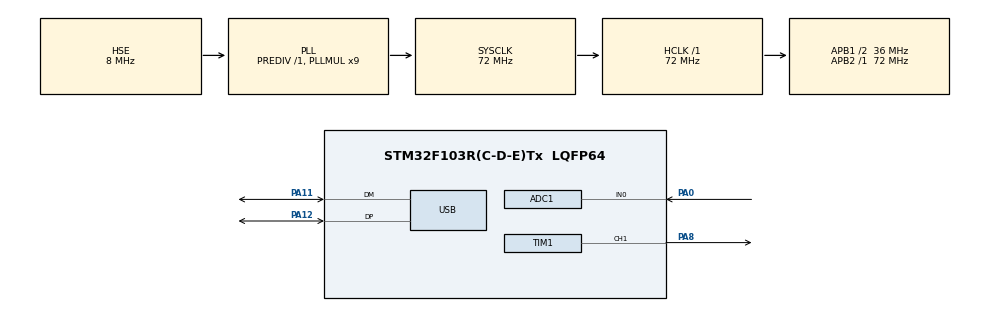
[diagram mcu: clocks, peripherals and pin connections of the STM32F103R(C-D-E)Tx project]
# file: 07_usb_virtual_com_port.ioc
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ADC1.Channel-0\#ChannelRegularConversion=ADC_CHANNEL_0
ADC1.ExternalTrigConv=ADC_EXTERNALTRIGCONV_T3_TRGO
ADC1.NbrOfConversion=1
ADC1.NbrOfConversionFlag=1
ADC1.Rank-0\#ChannelRegularConversion=1
ADC1.SamplingTime-0\#ChannelRegularConversion=ADC_SAMPLETIME_1CYCLE_5
ADC1.master=1
Dma.ADC1.0.Direction=DMA_PERIPH_TO_MEMORY
Dma.ADC1.0.Instance=DMA1_Channel1
Dma.ADC1.0.MemDataAlignment=DMA_MDATAALIGN_HALFWORD
Dma.ADC1.0.MemInc=DMA_MINC_ENABLE
Dma.ADC1.0.Mode=DMA_CIRCULAR
Dma.ADC1.0.PeriphDataAlignment=DMA_PDATAALIGN_HALFWORD
Dma.ADC1.0.PeriphInc=DMA_PINC_DISABLE
Dma.ADC1.0.Priority=DMA_PRIORITY_HIGH
Dma.Request0=ADC1
Mcu.Family=STM32F1
Mcu.Name=STM32F103R(C-D-E)Tx
Mcu.Package=LQFP64
NVIC.DMA1_Channel1_IRQn=true\:0\:0\:false\:false\:true\:false\:true
NVIC.PriorityGroup=NVIC_PRIORITYGROUP_4
NVIC.USB_LP_CAN1_RX0_IRQn=true\:0\:0\:false\:false\:true\:false\:true
PA0-WKUP.Signal=ADCx_IN0
PA11.Mode=Device
PA11.Signal=USB_DM
PA12.Mode=Device
PA12.Signal=USB_DP
PA13.Mode=Serial_Wire
PA13.Signal=SYS_JTMS-SWDIO
PA14.Mode=Serial_Wire
PA14.Signal=SYS_JTCK-SWCLK
PA8.Signal=S_TIM1_CH1
PD0-OSC_IN.Mode=HSE-External-Oscillator
PD0-OSC_IN.Signal=RCC_OSC_IN
PD1-OSC_OUT.Mode=HSE-External-Oscillator
PD1-OSC_OUT.Signal=RCC_OSC_OUT
ProjectManager.HeapSize=0x200
ProjectManager.StackSize=0x400
ProjectManager.TargetToolchain=MDK-ARM V5.27
RCC.ADCPresc=RCC_ADCPCLK2_DIV6
RCC.AHBFreq_Value=72000000
RCC.APB1CLKDivider=RCC_HCLK_DIV2
RCC.APB1Freq_Value=36000000
RCC.APB1TimFreq_Value=72000000
RCC.APB2Freq_Value=72000000
RCC.APB2TimFreq_Value=72000000
RCC.HCLKFreq_Value=72000000
RCC.PLLMUL=RCC_PLL_MUL9
RCC.PLLSourceVirtual=RCC_PLLSOURCE_HSE
RCC.SYSCLKFreq_VALUE=72000000
RCC.SYSCLKSource=RCC_SYSCLKSOURCE_PLLCLK
RCC.USBFreq_Value=48000000
RCC.USBPrescaler=RCC_USBCLKSOURCE_PLL_DIV1_5
SH.ADCx_IN0.0=ADC1_IN0,IN0
SH.S_TIM1_CH1.0=TIM1_CH1,PWM Generation1 CH1
TIM1.AutomaticOutput=TIM_AUTOMATICOUTPUT_ENABLE
TIM1.Channel-PWM\ Generation1\ CH1=TIM_CHANNEL_1
TIM1.Period=5000
TIM1.Prescaler=72
TIM1.Pulse-PWM\ Generation1\ CH1=2500
TIM3.Period=1000
TIM3.Prescaler=72
TIM3.TIM_MasterOutputTrigger=TIM_TRGO_UPDATE
USB_DEVICE.APP_RX_DATA_SIZE=50
USB_DEVICE.APP_TX_DATA_SIZE=50
USB_DEVICE.CLASS_NAME_FS=CDC
USB_DEVICE.VirtualMode=Cdc
USB_DEVICE.VirtualModeFS=Cdc_FS
VP_TIM3_VS_ClockSourceINT.Mode=Internal
VP_USB_DEVICE_VS_USB_DEVICE_CDC_FS.Mode=CDC_FS
board=custom

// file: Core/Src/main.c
/* USER CODE BEGIN Header */
/**
  ******************************************************************************
  * @file           : main.c
  * @brief          : Main program body
  ******************************************************************************
  * @attention
  *
  * <h2><center>&copy; Copyright (c) 2020 STMicroelectronics.
  * All rights reserved.</center></h2>
  *
  * This software component is licensed by ST under Ultimate Liberty license
  * SLA0044, the "License"; You may not use this file except in compliance with
  * the License. You may obtain a copy of the License at:
  *                             www.st.com/SLA0044
  *
  ******************************************************************************
  */
/* USER CODE END Header */
#include "main.h"
#include "usb_device.h"

/* USER CODE BEGIN Includes */
uint8_t CDC_Transmit_FS(uint8_t* Buf, uint16_t Len);
/* USER CODE END Includes */

/* USER CODE BEGIN PTD */
#define ADC_CALC 3.3/4096
/* USER CODE END PTD */

ADC_HandleTypeDef hadc1;
DMA_HandleTypeDef hdma_adc1;

TIM_HandleTypeDef htim1;
TIM_HandleTypeDef htim3;

/* USER CODE BEGIN PV */
uint32_t ADCValue;
char string[]="0 ticks \r\n";
/* USER CODE END PV */

void SystemClock_Config(void);
static void MX_GPIO_Init(void);
static void MX_DMA_Init(void);
static void MX_ADC1_Init(void);
static void MX_TIM3_Init(void);
static void MX_TIM1_Init(void);

/* USER CODE BEGIN 0 */

#define prescaler 71
#define frequency 500
#define osc 72e6
#define APP_RX_DATA_SIZE 50

uint32_t encoderValue=0;
extern uint8_t UserRxBufferFS[APP_RX_DATA_SIZE];

/* USER CODE END 0 */

int main(void)
{

  /* MCU Configuration--------------------------------------------------------*/

  /* Reset of all peripherals, Initializes the Flash interface and the Systick. */
  HAL_Init();

  /* Configure the system clock */
  SystemClock_Config();

  /* Initialize all configured peripherals */
  MX_GPIO_Init();
  MX_DMA_Init();
  MX_ADC1_Init();
  MX_TIM3_Init();
  MX_USB_DEVICE_Init();
  MX_TIM1_Init();
  /* USER CODE BEGIN 2 */
	HAL_ADC_Start_DMA(&hadc1,&ADCValue,1);
	HAL_TIM_Base_Start(&htim3);
	HAL_TIM_PWM_Start(&htim1, TIM_CHANNEL_1);

	/* TIMER4 ENCODER */
	RCC->APB2ENR |= 1<<3;				// GPIOB clock enable
	GPIOB->CRL = 0x44ffffff;		// pb6,pb7 input float

	RCC->APB1ENR |= 1<<2;				// tim4 clock enable
	TIM4->PSC = 0;
	TIM4->ARR = 2000;
	TIM4->CCMR1 |= 1<<8 | 1; 		// cc2 channel TI2 ( TIM4_CH2) & cc1 channel TI1 (TIM4_CH1)
	TIM4->SMCR |= 3;						// TIM SMCR ENCODER MODE TI1, TI2
	TIM4->CR1 |= 1;

  /* USER CODE END 2 */

  /* Infinite loop */
  while (1)
  {

    /* USER CODE BEGIN 3 */
		//encoderValue = TIM4->CNT;

		//sprintf(string,"%.2f",(ADCValue*ADC_CALC) );
		sprintf(string,"%.2d", TIM4->CNT);
		CDC_Transmit_FS( (uint8_t *)string, sizeof(string) );
		//HAL_Delay(1000);
		TIM1->CCR1 = UserRxBufferFS[1]<<8 | UserRxBufferFS[0];

  }
  /* USER CODE END 3 */
}

void SystemClock_Config(void)
{
  RCC_OscInitTypeDef RCC_OscInitStruct = {0};
  RCC_ClkInitTypeDef RCC_ClkInitStruct = {0};
  RCC_PeriphCLKInitTypeDef PeriphClkInit = {0};

  /** Initializes the RCC Oscillators according to the specified parameters
  * in the RCC_OscInitTypeDef structure.
  */
  RCC_OscInitStruct.OscillatorType = RCC_OSCILLATORTYPE_HSE;
  RCC_OscInitStruct.HSEState = RCC_HSE_ON;
  RCC_OscInitStruct.HSEPredivValue = RCC_HSE_PREDIV_DIV1;
  RCC_OscInitStruct.HSIState = RCC_HSI_ON;
  RCC_OscInitStruct.PLL.PLLState = RCC_PLL_ON;
  RCC_OscInitStruct.PLL.PLLSource = RCC_PLLSOURCE_HSE;
  RCC_OscInitStruct.PLL.PLLMUL = RCC_PLL_MUL9;
  if (HAL_RCC_OscConfig(&RCC_OscInitStruct) != HAL_OK)
  {
    Error_Handler();
  }
  /** Initializes the CPU, AHB and APB buses clocks
  */
  RCC_ClkInitStruct.ClockType = RCC_CLOCKTYPE_HCLK|RCC_CLOCKTYPE_SYSCLK
                              |RCC_CLOCKTYPE_PCLK1|RCC_CLOCKTYPE_PCLK2;
  RCC_ClkInitStruct.SYSCLKSource = RCC_SYSCLKSOURCE_PLLCLK;
  RCC_ClkInitStruct.AHBCLKDivider = RCC_SYSCLK_DIV1;
  RCC_ClkInitStruct.APB1CLKDivider = RCC_HCLK_DIV2;
  RCC_ClkInitStruct.APB2CLKDivider = RCC_HCLK_DIV1;

  if (HAL_RCC_ClockConfig(&RCC_ClkInitStruct, FLASH_LATENCY_2) != HAL_OK)
  {
    Error_Handler();
  }
  PeriphClkInit.PeriphClockSelection = RCC_PERIPHCLK_ADC|RCC_PERIPHCLK_USB;
  PeriphClkInit.AdcClockSelection = RCC_ADCPCLK2_DIV6;
  PeriphClkInit.UsbClockSelection = RCC_USBCLKSOURCE_PLL_DIV1_5;
  if (HAL_RCCEx_PeriphCLKConfig(&PeriphClkInit) != HAL_OK)
  {
    Error_Handler();
  }
}

static void MX_ADC1_Init(void)
{

  ADC_ChannelConfTypeDef sConfig = {0};

  /** Common config
  */
  hadc1.Instance = ADC1;
  hadc1.Init.ScanConvMode = ADC_SCAN_DISABLE;
  hadc1.Init.ContinuousConvMode = DISABLE;
  hadc1.Init.DiscontinuousConvMode = DISABLE;
  hadc1.Init.ExternalTrigConv = ADC_EXTERNALTRIGCONV_T3_TRGO;
  hadc1.Init.DataAlign = ADC_DATAALIGN_RIGHT;
  hadc1.Init.NbrOfConversion = 1;
  if (HAL_ADC_Init(&hadc1) != HAL_OK)
  {
    Error_Handler();
  }
  /** Configure Regular Channel
  */
  sConfig.Channel = ADC_CHANNEL_0;
  sConfig.Rank = ADC_REGULAR_RANK_1;
  sConfig.SamplingTime = ADC_SAMPLETIME_1CYCLE_5;
  if (HAL_ADC_ConfigChannel(&hadc1, &sConfig) != HAL_OK)
  {
    Error_Handler();
  }

}

static void MX_TIM1_Init(void)
{

  TIM_MasterConfigTypeDef sMasterConfig = {0};
  TIM_OC_InitTypeDef sConfigOC = {0};
  TIM_BreakDeadTimeConfigTypeDef sBreakDeadTimeConfig = {0};

  htim1.Instance = TIM1;
  htim1.Init.Prescaler = 72;
  htim1.Init.CounterMode = TIM_COUNTERMODE_UP;
  htim1.Init.Period = 5000;
  htim1.Init.ClockDivision = TIM_CLOCKDIVISION_DIV1;
  htim1.Init.RepetitionCounter = 0;
  htim1.Init.AutoReloadPreload = TIM_AUTORELOAD_PRELOAD_DISABLE;
  if (HAL_TIM_PWM_Init(&htim1) != HAL_OK)
  {
    Error_Handler();
  }
  sMasterConfig.MasterOutputTrigger = TIM_TRGO_RESET;
  sMasterConfig.MasterSlaveMode = TIM_MASTERSLAVEMODE_DISABLE;
  if (HAL_TIMEx_MasterConfigSynchronization(&htim1, &sMasterConfig) != HAL_OK)
  {
    Error_Handler();
  }
  sConfigOC.OCMode = TIM_OCMODE_PWM1;
  sConfigOC.Pulse = 2500;
  sConfigOC.OCPolarity = TIM_OCPOLARITY_HIGH;
  sConfigOC.OCNPolarity = TIM_OCNPOLARITY_HIGH;
  sConfigOC.OCFastMode = TIM_OCFAST_DISABLE;
  sConfigOC.OCIdleState = TIM_OCIDLESTATE_RESET;
  sConfigOC.OCNIdleState = TIM_OCNIDLESTATE_RESET;
  if (HAL_TIM_PWM_ConfigChannel(&htim1, &sConfigOC, TIM_CHANNEL_1) != HAL_OK)
  {
    Error_Handler();
  }
  sBreakDeadTimeConfig.OffStateRunMode = TIM_OSSR_DISABLE;
  sBreakDeadTimeConfig.OffStateIDLEMode = TIM_OSSI_DISABLE;
  sBreakDeadTimeConfig.LockLevel = TIM_LOCKLEVEL_OFF;
  sBreakDeadTimeConfig.DeadTime = 0;
  sBreakDeadTimeConfig.BreakState = TIM_BREAK_DISABLE;
  sBreakDeadTimeConfig.BreakPolarity = TIM_BREAKPOLARITY_HIGH;
  sBreakDeadTimeConfig.AutomaticOutput = TIM_AUTOMATICOUTPUT_ENABLE;
  if (HAL_TIMEx_ConfigBreakDeadTime(&htim1, &sBreakDeadTimeConfig) != HAL_OK)
  {
    Error_Handler();
  }
  HAL_TIM_MspPostInit(&htim1);

}

static void MX_TIM3_Init(void)
{

  TIM_ClockConfigTypeDef sClockSourceConfig = {0};
  TIM_MasterConfigTypeDef sMasterConfig = {0};

  htim3.Instance = TIM3;
  htim3.Init.Prescaler = 72;
  htim3.Init.CounterMode = TIM_COUNTERMODE_UP;
  htim3.Init.Period = 1000;
  htim3.Init.ClockDivision = TIM_CLOCKDIVISION_DIV1;
  htim3.Init.AutoReloadPreload = TIM_AUTORELOAD_PRELOAD_DISABLE;
  if (HAL_TIM_Base_Init(&htim3) != HAL_OK)
  {
    Error_Handler();
  }
  sClockSourceConfig.ClockSource = TIM_CLOCKSOURCE_INTERNAL;
  if (HAL_TIM_ConfigClockSource(&htim3, &sClockSourceConfig) != HAL_OK)
  {
    Error_Handler();
  }
  sMasterConfig.MasterOutputTrigger = TIM_TRGO_UPDATE;
  sMasterConfig.MasterSlaveMode = TIM_MASTERSLAVEMODE_DISABLE;
  if (HAL_TIMEx_MasterConfigSynchronization(&htim3, &sMasterConfig) != HAL_OK)
  {
    Error_Handler();
  }

}

static void MX_DMA_Init(void)
{

  /* DMA controller clock enable */
  __HAL_RCC_DMA1_CLK_ENABLE();

  /* DMA interrupt init */
  /* DMA1_Channel1_IRQn interrupt configuration */
  HAL_NVIC_SetPriority(DMA1_Channel1_IRQn, 0, 0);
  HAL_NVIC_EnableIRQ(DMA1_Channel1_IRQn);

}

static void MX_GPIO_Init(void)
{
  GPIO_InitTypeDef GPIO_InitStruct = {0};

  /* GPIO Ports Clock Enable */
  __HAL_RCC_GPIOC_CLK_ENABLE();
  __HAL_RCC_GPIOD_CLK_ENABLE();
  __HAL_RCC_GPIOA_CLK_ENABLE();
  __HAL_RCC_GPIOB_CLK_ENABLE();

  /*Configure GPIO pins : PC13 PC14 PC15 PC0
                           PC1 PC2 PC3 PC4
                           PC5 PC6 PC7 PC8
                           PC9 PC10 PC11 PC12 */
  GPIO_InitStruct.Pin = GPIO_PIN_13|GPIO_PIN_14|GPIO_PIN_15|GPIO_PIN_0
                          |GPIO_PIN_1|GPIO_PIN_2|GPIO_PIN_3|GPIO_PIN_4
                          |GPIO_PIN_5|GPIO_PIN_6|GPIO_PIN_7|GPIO_PIN_8
                          |GPIO_PIN_9|GPIO_PIN_10|GPIO_PIN_11|GPIO_PIN_12;
  GPIO_InitStruct.Mode = GPIO_MODE_ANALOG;
  HAL_GPIO_Init(GPIOC, &GPIO_InitStruct);

  /*Configure GPIO pins : PA1 PA2 PA3 PA4
                           PA5 PA6 PA7 PA9
                           PA10 PA15 */
  GPIO_InitStruct.Pin = GPIO_PIN_1|GPIO_PIN_2|GPIO_PIN_3|GPIO_PIN_4
                          |GPIO_PIN_5|GPIO_PIN_6|GPIO_PIN_7|GPIO_PIN_9
                          |GPIO_PIN_10|GPIO_PIN_15;
  GPIO_InitStruct.Mode = GPIO_MODE_ANALOG;
  HAL_GPIO_Init(GPIOA, &GPIO_InitStruct);

  /*Configure GPIO pins : PB0 PB1 PB2 PB10
                           PB11 PB12 PB13 PB14
                           PB15 PB3 PB4 PB5
                           PB6 PB7 PB8 PB9 */
  GPIO_InitStruct.Pin = GPIO_PIN_0|GPIO_PIN_1|GPIO_PIN_2|GPIO_PIN_10
                          |GPIO_PIN_11|GPIO_PIN_12|GPIO_PIN_13|GPIO_PIN_14
                          |GPIO_PIN_15|GPIO_PIN_3|GPIO_PIN_4|GPIO_PIN_5
                          |GPIO_PIN_6|GPIO_PIN_7|GPIO_PIN_8|GPIO_PIN_9;
  GPIO_InitStruct.Mode = GPIO_MODE_ANALOG;
  HAL_GPIO_Init(GPIOB, &GPIO_InitStruct);

  /*Configure GPIO pin : PD2 */
  GPIO_InitStruct.Pin = GPIO_PIN_2;
  GPIO_InitStruct.Mode = GPIO_MODE_ANALOG;
  HAL_GPIO_Init(GPIOD, &GPIO_InitStruct);

}

void Error_Handler(void)
{
}

/************************ (C) COPYRIGHT STMicroelectronics *****END OF FILE****/
